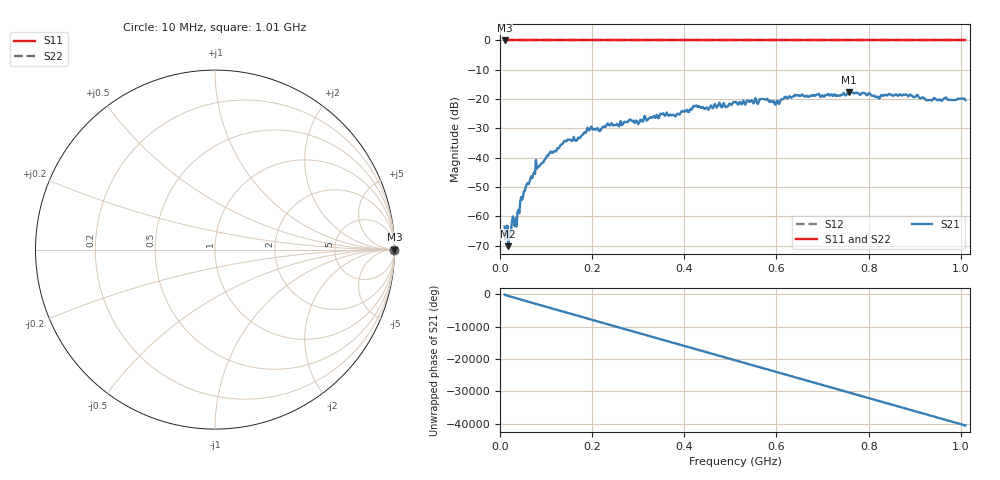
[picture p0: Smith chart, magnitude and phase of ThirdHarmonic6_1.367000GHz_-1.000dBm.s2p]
! 8/16/2025 3:28:15 PM
! C:\ANRITSUVNA\TEMP\TEMP.S2P
! CHANNEL.1
! TR.MEASUREMENT
! RAW.DATA
! RF.CORRECTION.OFF
! AVERAGING.OFF
! IF.BANDWIDTH: 5KHZ
! SWEEPTYPE:  FREQ.SWEEP(Linear)
! Reference Plane Port Info
! PORT:  PORT1  PORT2
! DISTANCE:  0  m  0  m
! TIME:  0  s  0  s
! PHASE.OFFSET:  0  deg.  0  deg.
! LOSS:  0  dB  0  dB
! REF.LOSS:  0  dB  0  dB
! REF.FREQ:  0  Hz  0  Hz
! Power Info
! POWER:  -20  dBm  -20  dBm
! EFF.POWER:  -20  dBm  -20  dBm
! SOURCE.ATTEN:  0  dB  0  dB
! TEST.ATTEN:  0  dB  0  dB
# GHZ S RI R 50.0
! FREQ.GHZ  S11RE  S11IM  S21RE  S21IM  S12RE  S12IM  S22RE  S22IM
!; PortSelection: Port_12
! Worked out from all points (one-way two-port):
!   501 points, 10 MHz to 1.01 GHz, reference 50 ohm
!   highest |S21| = -17.56 dB at 758 MHz (marker M1); lowest = -70.2 dB at 18 MHz (marker M2)
!   lowest |S11| = 0.0 dB at 10 MHz (marker M3)
!   |S11| at or under -10 dB: nowhere
!   |S22| runs from 0.0 to 0.0 dB; largest |S21 - S12| = 1.1
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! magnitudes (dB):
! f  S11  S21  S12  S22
! 10 MHz  0.0  -63.5  0.0  0.0
! 18 MHz  0.0  -70.2  0.0  0.0
! 22 MHz  0.0  -65.2  0.0  0.0
! 26 MHz  0.0  -61.7  0.0  0.0
! 36 MHz  0.0  -63.4  0.0  0.0
! 56 MHz  0.0  -50.0  0.0  0.0
! 82 MHz  0.0  -43.3  0.0  0.0
! 142 MHz  0.0  -34.3  0.0  0.0
! 178 MHz  0.0  -32.4  0.0  0.0
! 194 MHz  0.0  -30.7  0.0  0.0
! 344 MHz  0.0  -26.6  0.0  0.0
! 384 MHz  0.0  -25.2  0.0  0.0
! 422 MHz  0.0  -22.5  0.0  0.0
! 510 MHz  0.0  -21.1  0.0  0.0
! 568 MHz  0.0  -19.9  0.0  0.0
! 602 MHz  0.0  -20.5  0.0  0.0
! 644 MHz  0.0  -18.8  0.0  0.0
! 678 MHz  0.0  -18.7  0.0  0.0
! 758 MHz  0.0  -17.6  0.0  0.0
! 820 MHz  0.0  -19.2  0.0  0.0
! 844 MHz  0.0  -18.2  0.0  0.0
! 1.01 GHz  0.0  -20.3  0.0  0.0
